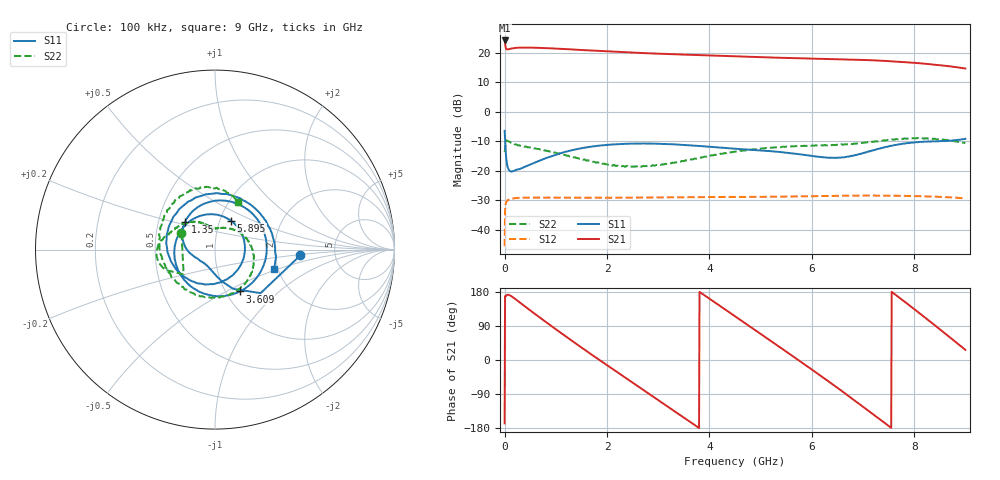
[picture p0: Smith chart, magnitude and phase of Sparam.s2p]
# Hz S DB R 50
! Date: 15/03/2025 6:42:06 pm
! Data: Format (Calibration Info)
! Freq	S11:dB/Ang(F2)	S21:dB/Ang(F2)	S12:dB/Ang(F2)	S22:dB/Ang(F2)
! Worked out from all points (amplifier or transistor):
!   1001 points, 100 kHz to 9 GHz, reference 50 ohm
!   highest |S21| = 24.2 dB at 100 kHz (marker M1)
!   |S21| within 3 dB of that: 74.76 MHz to 1.265 GHz (1.19 GHz wide, 178 % of centre)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
!   unconditionally stable (mu >= 1): start of sweep to end of sweep
!   at 1.494 GHz: K = 1.34, MAG = 21.6 dB, |S12| = -29.1 dB
!   at 4.5 GHz: K = 1.57, MAG = 19.4 dB, |S12| = -28.9 dB
!   at 9 GHz: K = 2.17, MAG = 15.9 dB, |S12| = -29.4 dB
!   S11 on the Smith chart (normalised r, x): 100 kHz: 2.80, -0.24; 1.35 GHz: 0.68, +0.22; 3.609 GHz: 1.16, -0.58; 5.895 GHz: 1.13, +0.38; 9 GHz: 1.91, -0.48
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100000  -6.44 -3.9  24.21 -167.2  -45.57 19.0  -13.64 153.8
5.40994e7  -18.34 -97.6  21.16 172.1  -30.09 8.6  -9.81 179.8
3.420962e8  -19.04 -154.3  21.79 147.1  -29.14 -21.1  -11.56 158.5
6.930923e8  -16.50 -176.4  21.68 111.5  -29.09 -48.2  -12.79 142.0
1.008089e9  -14.51 162.7  21.45 80.4  -29.11 -71.5  -13.99 129.5
1.350085e9  -12.89 137.6  21.12 47.4  -29.12 -96.1  -15.46 118.6
1.503083e9  -12.34 125.6  20.97 32.8  -29.13 -107.3  -15.98 113.7
1.80908e9  -11.55 100.9  20.68 4.0  -29.11 -129.2  -17.11 106.4
2.124076e9  -11.06 74.4  20.39 -25.3  -29.13 -151.8  -18.09 100.1
2.574071e9  -10.74 35.1  20.02 -66.8  -29.08 175.6  -18.51 89.7
3.006067e9  -10.80 -3.8  19.72 -106.5  -29.04 144.1  -18.05 75.0
3.60906e9  -11.35 -59.5  19.34 -162.0  -28.97 99.4  -16.31 45.0
4.032055e9  -11.89 -99.4  19.10 159.0  -28.90 67.8  -14.75 22.5
4.50005e9  -12.53 -145.4  18.83 115.5  -28.86 32.4  -13.58 -2.6
5.085044e9  -13.23 154.0  18.50 61.0  -28.81 -12.2  -12.39 -33.5
5.508039e9  -13.88 107.7  18.28 21.4  -28.75 -45.1  -11.76 -57.8
5.895034e9  -14.69 61.2  18.10 -15.1  -28.66 -75.6  -11.55 -82.3
6.003033e9  -14.96 47.3  18.06 -25.3  -28.63 -84.1  -11.37 -89.2
6.723025e9  -15.16 -60.9  17.77 -95.3  -28.43 -143.3  -10.98 -146.2
7.506017e9  -11.69 -172.8  17.20 -174.4  -28.45 149.2  -9.55 151.4
8.262008e9  -10.06 89.2  16.22 106.6  -28.74 81.3  -9.02 101.3
9e9  -9.15 -18.4  14.70 26.7  -29.40 10.9  -10.62 64.5
